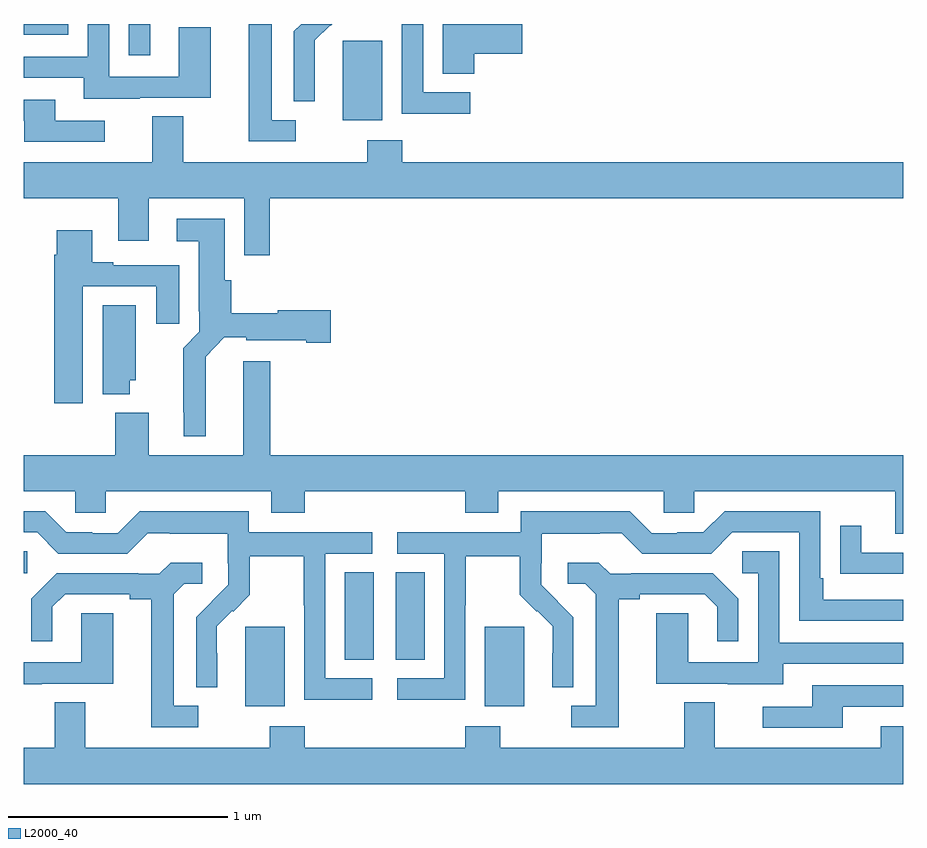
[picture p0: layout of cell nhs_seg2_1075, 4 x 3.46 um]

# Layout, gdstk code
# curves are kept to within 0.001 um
import gdstk
lib = gdstk.Library(unit=1e-6, precision=1e-09)
def R(c, l, rs):  # rectangles x0, y0, x1, y1
    for r in rs: c.add(gdstk.rectangle(r[:2], r[2:], *l))
def P(c, l, *ps):  # polygons
    for p in ps: c.add(gdstk.Polygon(p, *l))
L2000_40 = (2000, 40)

nhs_seg2_1075 = lib.new_cell('nhs_seg2_1075')
R(nhs_seg2_1075, L2000_40, [(168.008,606.698,168.187,607.059), (169.097,606.698,169.276,607.059), (168.461,606.91,168.592,607.307), (168.692,606.91,168.823,607.307), (167,607.302,167.017,607.403), (168.452,609.362,168.631,609.723), (167.478,609.657,167.575,609.8), (167,609.75,167.202,609.8)])
P(nhs_seg2_1075, L2000_40, [(168.238,609.363),(168.127,609.363),(168.127,609.8),(168.023,609.8),(168.023,609.267),(168.238,609.267)],
  [(169.049,609.665),(169.267,609.665),(169.267,609.8),(168.905,609.8),(168.905,609.574),(169.049,609.574)],
  [(168.324,609.602),(168.323,609.602),(168.323,609.725),(168.393,609.795),(168.396,609.792),(168.404,609.8),(168.262,609.8),(168.228,609.766),(168.228,609.448),(168.324,609.448)],
  [(167.527,609.465),(167.851,609.465),(167.851,609.785),(167.706,609.785),(167.706,609.561),(167.388,609.561),(167.388,609.8),(167.292,609.8),(167.292,609.651),(167,609.651),(167,609.555),(167.273,609.555),(167.273,609.461),(167.527,609.461)],
  [(169.03,609.489),(168.816,609.489),(168.816,609.8),(168.72,609.8),(168.72,609.391),(169.03,609.391)],
  [(167.368,609.36),(167.143,609.36),(167.143,609.456),(167,609.456),(167,609.36),(167.003,609.36),(167.003,609.264),(167.368,609.264)],
  [(171,609.172),(168.722,609.172),(168.722,609.271),(168.562,609.271),(168.562,609.172),(167.725,609.172),(167.725,609.38),(167.585,609.38),(167.585,609.172),(167,609.172),(167,609.008),(167.429,609.008),(167.429,608.814),(167.569,608.814),(167.569,609.008),(168.003,609.008),(168.003,608.748),(168.119,608.748),(168.119,609.008),(171,609.008)],
  [(167.827,608.288),(167.913,608.375),(168.012,608.375),(168.012,608.363),(168.284,608.363),(168.284,608.351),(168.397,608.351),(168.397,608.498),(168.156,608.498),(168.156,608.485),(167.945,608.485),(167.945,608.634),(167.914,608.634),(167.914,608.914),(167.697,608.914),(167.697,608.813),(167.795,608.813),(167.795,608.494),(167.799,608.494),(167.799,608.4),(167.725,608.326),(167.725,608.035),(167.729,608.035),(167.729,607.925),(167.827,607.925)],
  [(167.269,608.607),(167.603,608.607),(167.603,608.436),(167.707,608.436),(167.707,608.703),(167.407,608.703),(167.407,608.716),(167.311,608.716),(167.311,608.863),(167.15,608.863),(167.15,608.75),(167.138,608.75),(167.138,608.076),(167.269,608.076)],
  [(167.482,608.181),(167.509,608.181),(167.509,608.522),(167.36,608.522),(167.36,608.117),(167.482,608.117)],
  [(171,607.84),(168.122,607.84),(168.122,608.266),(167.999,608.266),(167.999,607.84),(167.569,607.84),(167.569,608.032),(167.417,608.032),(167.417,607.84),(167,607.84),(167,607.676),(167.235,607.676),(167.235,607.578),(167.373,607.578),(167.373,607.676),(168.125,607.676),(168.125,607.577),(168.278,607.577),(168.278,607.676),(169.007,607.676),(169.007,607.577),(169.159,607.577),(169.159,607.676),(169.911,607.676),(169.911,607.578),(170.049,607.578),(170.049,607.676),(170.963,607.676),(170.963,607.482),(171,607.482)],
  [(168.586,606.825),(168.372,606.825),(168.372,607.392),(168.586,607.392),(168.586,607.488),(168.024,607.488),(168.024,607.585),(167.527,607.585),(167.427,607.485),(167.312,607.485),(167.312,607.488),(167.193,607.488),(167.097,607.584),(167,607.584),(167,607.488),(167.061,607.488),(167.157,607.392),(167.472,607.392),(167.565,607.485),(167.665,607.485),(167.665,607.481),(167.928,607.481),(167.928,607.347),(167.93,607.347),(167.93,607.25),(167.784,607.102),(167.784,606.784),(167.88,606.784),(167.879,607.061),(167.949,607.131),(167.952,607.128),(168.029,607.205),(168.029,607.38),(168.274,607.38),(168.274,607.156),(168.276,607.156),(168.276,606.727),(168.586,606.727)],
  [(169.008,607.156),(169.011,607.156),(169.011,607.38),(169.255,607.38),(169.255,607.205),(169.332,607.128),(169.335,607.131),(169.406,607.061),(169.406,606.938),(169.404,606.938),(169.404,606.784),(169.5,606.784),(169.5,607.102),(169.354,607.25),(169.354,607.347),(169.356,607.347),(169.356,607.481),(169.619,607.481),(169.619,607.485),(169.719,607.485),(169.812,607.392),(170.127,607.392),(170.223,607.488),(170.526,607.488),(170.526,607.086),(171,607.086),(171,607.182),(170.635,607.182),(170.635,607.279),(170.622,607.279),(170.622,607.584),(170.187,607.584),(170.091,607.488),(169.973,607.488),(169.973,607.485),(169.857,607.485),(169.757,607.585),(169.26,607.585),(169.26,607.488),(168.699,607.488),(168.699,607.392),(168.912,607.392),(168.912,606.825),(168.699,606.825),(168.699,606.727),(169.008,606.727)],
  [(171,607.395),(170.809,607.395),(170.809,607.519),(170.713,607.519),(170.713,607.3),(170.815,607.3),(170.815,607.299),(171,607.299)],
  [(170.455,606.891),(171,606.891),(171,606.987),(170.436,606.987),(170.436,607.403),(170.268,607.403),(170.268,607.302),(170.34,607.302),(170.34,606.897),(170.022,606.897),(170.022,607.121),(169.877,607.121),(169.877,606.801),(170.201,606.801),(170.201,606.797),(170.455,606.797)],
  [(169.705,607.184),(169.801,607.184),(169.801,607.206),(170.096,607.206),(170.153,607.149),(170.153,606.993),(170.25,606.993),(170.25,607.186),(170.134,607.302),(169.762,607.302),(169.762,607.299),(169.668,607.299),(169.616,607.351),(169.473,607.351),(169.473,607.254),(169.554,607.254),(169.601,607.207),(169.601,606.699),(169.491,606.699),(169.491,606.603),(169.705,606.603)],
  [(167.794,606.699),(167.683,606.699),(167.683,607.207),(167.73,607.254),(167.812,607.254),(167.812,607.351),(167.668,607.351),(167.616,607.299),(167.522,607.299),(167.522,607.302),(167.15,607.302),(167.034,607.186),(167.034,606.993),(167.131,606.993),(167.131,607.149),(167.188,607.206),(167.483,607.206),(167.483,607.184),(167.579,607.184),(167.579,606.603),(167.794,606.603)],
  [(167.083,606.801),(167.407,606.801),(167.407,607.121),(167.262,607.121),(167.262,606.897),(167,606.897),(167,606.797),(167.083,606.797)],
  [(170.725,606.696),(171,606.696),(171,606.792),(170.585,606.792),(170.585,606.696),(170.361,606.696),(170.361,606.6),(170.725,606.6)],
  [(171,606.607),(170.897,606.607),(170.897,606.508),(170.143,606.508),(170.143,606.716),(170.003,606.716),(170.003,606.508),(169.167,606.508),(169.167,606.607),(169.007,606.607),(169.007,606.508),(168.278,606.508),(168.278,606.607),(168.118,606.607),(168.118,606.508),(167.281,606.508),(167.281,606.716),(167.141,606.716),(167.141,606.508),(167,606.508),(167,606.344),(171,606.344)])

lib.write_gds('nhs_seg2_1075.gds')
